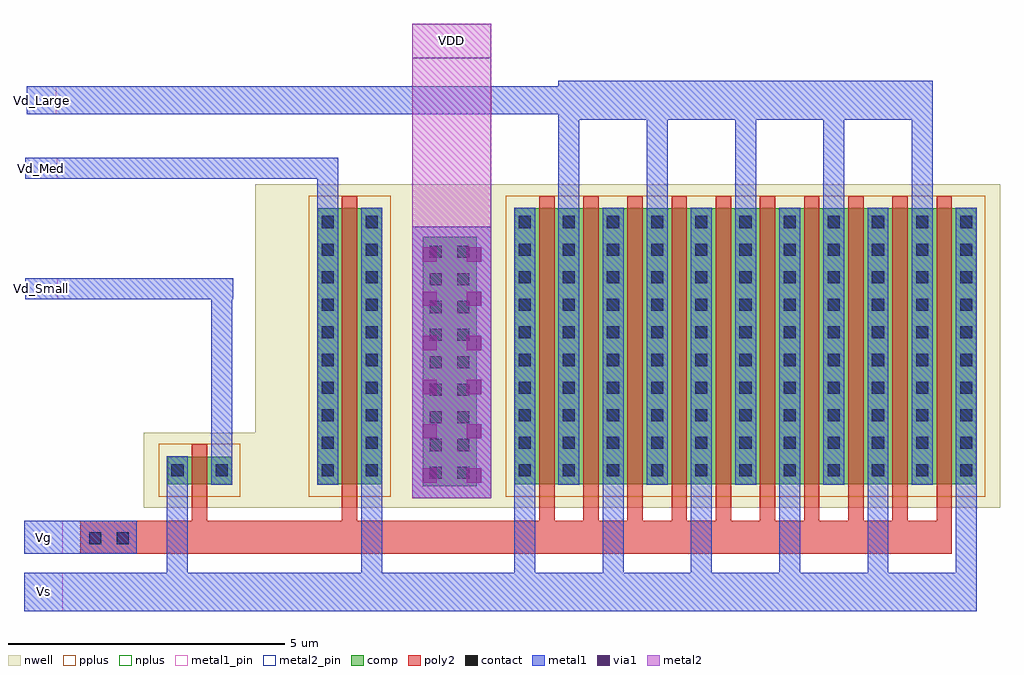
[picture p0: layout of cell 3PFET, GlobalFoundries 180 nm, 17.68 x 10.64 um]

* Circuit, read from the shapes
.subckt 3PFET VDD Vd_Large Vd_Med Vd_Small Vg Vs
XM1 Vd_Small Vg Vs VDD pfet_03v3 w=0.5u l=0.28u
XM2 Vs Vg Vd_Med VDD pfet_03v3 w=5u l=0.28u
XM3 Vd_Large Vg Vs VDD pfet_03v3 w=5u l=0.28u m=10
.ends

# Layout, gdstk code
import gdstk
lib = gdstk.Library(unit=1e-6, precision=1e-09)
def R(c, l, rs):  # rectangles x0, y0, x1, y1
    for r in rs: c.add(gdstk.rectangle(r[:2], r[2:], *l))
def A(c, l, x, y, w, h, nx, ny, dx, dy):  # array of equal rectangles
    R(c, l, [(x+i*dx, y+j*dy, x+i*dx+w, y+j*dy+h) for i in range(nx) for j in range(ny)])
nwell = (21, 0)
comp = (22, 0)
poly2 = (30, 0)
pplus = (31, 0)
nplus = (32, 0)
contact = (33, 0)
metal1 = (34, 0)
metal1_pin = (34, 10)
via1 = (35, 0)
metal2 = (36, 0)
metal2_pin = (36, 10)

pfet_2 = lib.new_cell('pfet$2')
R(pfet_2, nwell, [(-0.43,-0.43,8.79,5.43)])
R(pfet_2, comp, [(0,0,8.36,5)])
A(pfet_2, poly2, 0.44, -0.22, 0.28, 5.44, 10, 1, 0.8, 0)
R(pfet_2, pplus, [(-0.16,-0.23,8.52,5.23)])
A(pfet_2, contact, 0.07, 0.14, 0.22, 0.22, 11, 10, 0.8, 0.5)
A(pfet_2, metal1, -0.01, -0.01, 0.38, 5.02, 11, 1, 0.8, 0)

pfet_1 = lib.new_cell('pfet$1')
R(pfet_1, nwell, [(-0.43,-0.43,1.59,5.43)])
R(pfet_1, comp, [(0,0,1.16,5)])
R(pfet_1, poly2, [(0.44,-0.22,0.72,5.22)])
R(pfet_1, pplus, [(-0.16,-0.23,1.32,5.23)])
A(pfet_1, contact, 0.07, 0.14, 0.22, 0.22, 1, 10, 0, 0.5)
A(pfet_1, contact, 0.87, 0.14, 0.22, 0.22, 1, 10, 0, 0.5)
R(pfet_1, metal1, [(-0.01,-0.01,0.37,5.01), (0.79,-0.01,1.17,5.01)])

pfet = lib.new_cell('pfet')
R(pfet, nwell, [(-0.43,-0.43,1.59,0.93)])
R(pfet, comp, [(0,0,1.16,0.5)])
R(pfet, poly2, [(0.44,-0.22,0.72,0.72)])
R(pfet, pplus, [(-0.16,-0.23,1.32,0.73)])
R(pfet, contact, [(0.07,0.14,0.29,0.36), (0.87,0.14,1.09,0.36)])
R(pfet, metal1, [(-0.01,-0.01,0.37,0.51), (0.79,-0.01,1.17,0.51)])

c_3pfet = lib.new_cell('3PFET')
R(c_3pfet, nwell, [(-1.13,-4.34,3.14,1.52)])
R(c_3pfet, comp, [(1.9,-3.95,2.88,0.57)])
R(c_3pfet, poly2, [(-4.3,-5.17,11.49,-4.57)])
R(c_3pfet, nplus, [(1.71,-4.16,3.14,0.75)])
A(c_3pfet, contact, 2.03, -3.81, 0.22, 0.22, 1, 9, 0, 0.5)
A(c_3pfet, contact, 2.53, -3.81, 0.22, 0.22, 1, 9, 0, 0.5)
R(c_3pfet, contact, [(-4.14,-5,-3.92,-4.78), (-3.64,-5,-3.42,-4.78)])
R(c_3pfet, metal1, [(-5.32,-6.21,-2.75,-5.51), (-2.75,-6.21,11.94,-5.51), (-5.32,-5.17,-3.28,-4.57), (1.71,-4.16,3.14,0.75), (-5.3,-0.56,-4.71,-0.18), (-5.3,1.62,-4.72,2), (4.36,2.69,11.14,3.4), (-5.27,2.795,-4.74,3.295)])
R(c_3pfet, metal1_pin, [(-5.32,-6.21,-4.62,-5.51), (-5.32,-5.17,-4.62,-4.57), (-5.3,-0.56,-4.71,-0.18), (-5.3,1.62,-4.72,2), (-5.27,2.795,-4.74,3.295)])
A(c_3pfet, via1, 1.9, -3.88, 0.26, 0.26, 1, 6, 0, 0.8)
A(c_3pfet, via1, 2.7, -3.88, 0.26, 0.26, 1, 6, 0, 0.8)
R(c_3pfet, metal2, [(1.71,-4.16,3.14,0.75), (1.71,0.75,3.14,4.43)])
R(c_3pfet, metal2_pin, [(1.71,3.81,3.14,4.43)])
c_3pfet.add(gdstk.FlexPath([(3.75,-3.92),(3.75,-5.51)], 0.38, ends="flush", simple_path=True, layer=34, datatype=0))  # metal1
c_3pfet.add(gdstk.FlexPath([(4.55,2.69),(4.55,1.1)], 0.38, ends="flush", simple_path=True, layer=34, datatype=0))  # metal1
c_3pfet.add(gdstk.FlexPath([(5.35,-3.92),(5.35,-5.51)], 0.38, ends="flush", simple_path=True, layer=34, datatype=0))  # metal1
c_3pfet.add(gdstk.FlexPath([(6.15,2.69),(6.15,1.1)], 0.38, ends="flush", simple_path=True, layer=34, datatype=0))  # metal1
c_3pfet.add(gdstk.FlexPath([(6.95,-3.92),(6.95,-5.51)], 0.38, ends="flush", simple_path=True, layer=34, datatype=0))  # metal1
c_3pfet.add(gdstk.FlexPath([(7.75,2.69),(7.75,1.1)], 0.38, ends="flush", simple_path=True, layer=34, datatype=0))  # metal1
c_3pfet.add(gdstk.FlexPath([(8.55,-3.92),(8.55,-5.51)], 0.38, ends="flush", simple_path=True, layer=34, datatype=0))  # metal1
c_3pfet.add(gdstk.FlexPath([(9.35,2.69),(9.35,1.1)], 0.38, ends="flush", simple_path=True, layer=34, datatype=0))  # metal1
c_3pfet.add(gdstk.FlexPath([(10.15,-3.92),(10.15,-5.51)], 0.38, ends="flush", simple_path=True, layer=34, datatype=0))  # metal1
c_3pfet.add(gdstk.FlexPath([(10.95,2.69),(10.95,1.1)], 0.38, ends="flush", simple_path=True, layer=34, datatype=0))  # metal1
c_3pfet.add(gdstk.FlexPath([(11.75,-3.92),(11.75,-5.51)], 0.38, ends="flush", simple_path=True, layer=34, datatype=0))  # metal1
c_3pfet.add(gdstk.FlexPath([(0.98,-3.92),(0.98,-5.51)], 0.38, ends="flush", simple_path=True, layer=34, datatype=0))  # metal1
c_3pfet.add(gdstk.FlexPath([(-1.74,-3.4),(-1.74,-0.18)], 0.38, ends="flush", simple_path=True, layer=34, datatype=0))  # metal1
c_3pfet.add(gdstk.FlexPath([(0.18,1.1),(0.18,1.81)], 0.38, ends="flush", simple_path=True, layer=34, datatype=0))  # metal1
c_3pfet.add(gdstk.FlexPath([(-1.53,-0.37),(-4.71,-0.37)], 0.38, ends="flush", simple_path=True, layer=34, datatype=0))  # metal1
c_3pfet.add(gdstk.FlexPath([(0.37,1.81),(-4.72,1.81)], 0.38, ends="flush", simple_path=True, layer=34, datatype=0))  # metal1
c_3pfet.add(gdstk.FlexPath([(4.36,3.045),(-4.74,3.045)], 0.5, ends="flush", simple_path=True, layer=34, datatype=0))  # metal1
c_3pfet.add(gdstk.FlexPath([(-2.54,-3.92),(-2.54,-5.5)], 0.38, ends="flush", simple_path=True, layer=34, datatype=0))  # metal1
c_3pfet.add(gdstk.FlexPath([(-2.54,-5.51),(-2.54,-5.5)], 0.38, ends="flush", simple_path=True, layer=34, datatype=0))  # metal1
c_3pfet.add(gdstk.FlexPath([(-2.14,-4.13),(-2.14,-4.57)], 0.28, ends="flush", simple_path=True, layer=30, datatype=0))  # poly2
c_3pfet.add(gdstk.FlexPath([(4.15,-4.13),(4.15,-4.57)], 0.28, ends="flush", simple_path=True, layer=30, datatype=0))  # poly2
c_3pfet.add(gdstk.FlexPath([(4.95,-4.13),(4.95,-4.57)], 0.28, ends="flush", simple_path=True, layer=30, datatype=0))  # poly2
c_3pfet.add(gdstk.FlexPath([(5.75,-4.13),(5.75,-4.57)], 0.28, ends="flush", simple_path=True, layer=30, datatype=0))  # poly2
c_3pfet.add(gdstk.FlexPath([(6.55,-4.13),(6.55,-4.57)], 0.28, ends="flush", simple_path=True, layer=30, datatype=0))  # poly2
c_3pfet.add(gdstk.FlexPath([(7.35,-4.13),(7.35,-4.57)], 0.28, ends="flush", simple_path=True, layer=30, datatype=0))  # poly2
c_3pfet.add(gdstk.FlexPath([(8.15,-4.13),(8.15,-4.57)], 0.28, ends="flush", simple_path=True, layer=30, datatype=0))  # poly2
c_3pfet.add(gdstk.FlexPath([(8.95,-4.13),(8.95,-4.57)], 0.28, ends="flush", simple_path=True, layer=30, datatype=0))  # poly2
c_3pfet.add(gdstk.FlexPath([(9.75,-4.13),(9.75,-4.57)], 0.28, ends="flush", simple_path=True, layer=30, datatype=0))  # poly2
c_3pfet.add(gdstk.FlexPath([(10.55,-4.13),(10.55,-4.57)], 0.28, ends="flush", simple_path=True, layer=30, datatype=0))  # poly2
c_3pfet.add(gdstk.FlexPath([(11.35,-4.13),(11.35,-4.57)], 0.28, ends="flush", simple_path=True, layer=30, datatype=0))  # poly2
c_3pfet.add(gdstk.FlexPath([(0.58,-4.13),(0.58,-4.57)], 0.28, ends="flush", simple_path=True, layer=30, datatype=0))  # poly2
c_3pfet.add(gdstk.Reference(pfet_2, (3.57,-3.91)))
c_3pfet.add(gdstk.Reference(pfet_1, (0,-3.91)))
c_3pfet.add(gdstk.Reference(pfet, (-2.72,-3.91)))
c_3pfet.add(gdstk.Label('Vd_Large', (-5.005,3.045), layer=34, texttype=10))
c_3pfet.add(gdstk.Label('Vd_Med', (-5.01,1.81), layer=34, texttype=10))
c_3pfet.add(gdstk.Label('Vd_Small', (-5.005,-0.37), layer=34, texttype=10))
c_3pfet.add(gdstk.Label('Vg', (-4.97,-4.87), layer=34, texttype=10))
c_3pfet.add(gdstk.Label('Vs', (-4.97,-5.86), layer=34, texttype=10))
c_3pfet.add(gdstk.Label('VDD', (2.425,4.12), layer=36, texttype=10))

lib.write_gds('3PFET.gds')
